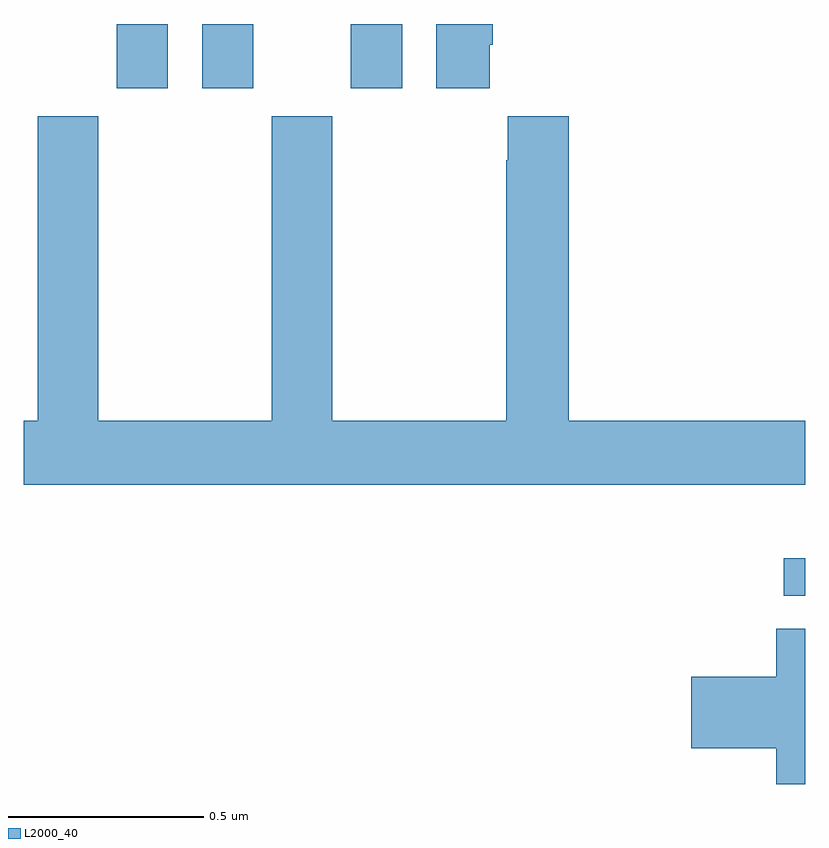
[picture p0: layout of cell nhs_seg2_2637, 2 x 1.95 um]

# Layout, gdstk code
import gdstk
lib = gdstk.Library(unit=1e-6, precision=1e-09)
def R(c, l, rs):  # rectangles x0, y0, x1, y1
    for r in rs: c.add(gdstk.rectangle(r[:2], r[2:], *l))
def P(c, l, *ps):  # polygons
    for p in ps: c.add(gdstk.Polygon(p, *l))
L2000_40 = (2000, 40)

nhs_seg2_2637 = lib.new_cell('nhs_seg2_2637')
R(nhs_seg2_2637, L2000_40, [(144.945,663.336,145,663.432), (143.237,664.635,143.368,664.8), (143.456,664.635,143.587,664.8), (143.837,664.635,143.968,664.8)])
P(nhs_seg2_2637, L2000_40, [(144.193,664.747),(144.2,664.747),(144.2,664.8),(144.056,664.8),(144.056,664.635),(144.193,664.635)],
  [(145,663.784),(144.395,663.784),(144.395,664.564),(144.239,664.564),(144.239,664.451),(144.235,664.451),(144.235,663.784),(143.79,663.784),(143.79,664.564),(143.635,664.564),(143.635,663.784),(143.19,663.784),(143.19,664.564),(143.035,664.564),(143.035,663.784),(143,663.784),(143,663.62),(145,663.62)],
  [(145,663.251),(144.926,663.251),(144.926,663.128),(144.708,663.128),(144.708,662.945),(144.926,662.945),(144.926,662.854),(145,662.854)])

lib.write_gds('nhs_seg2_2637.gds')
